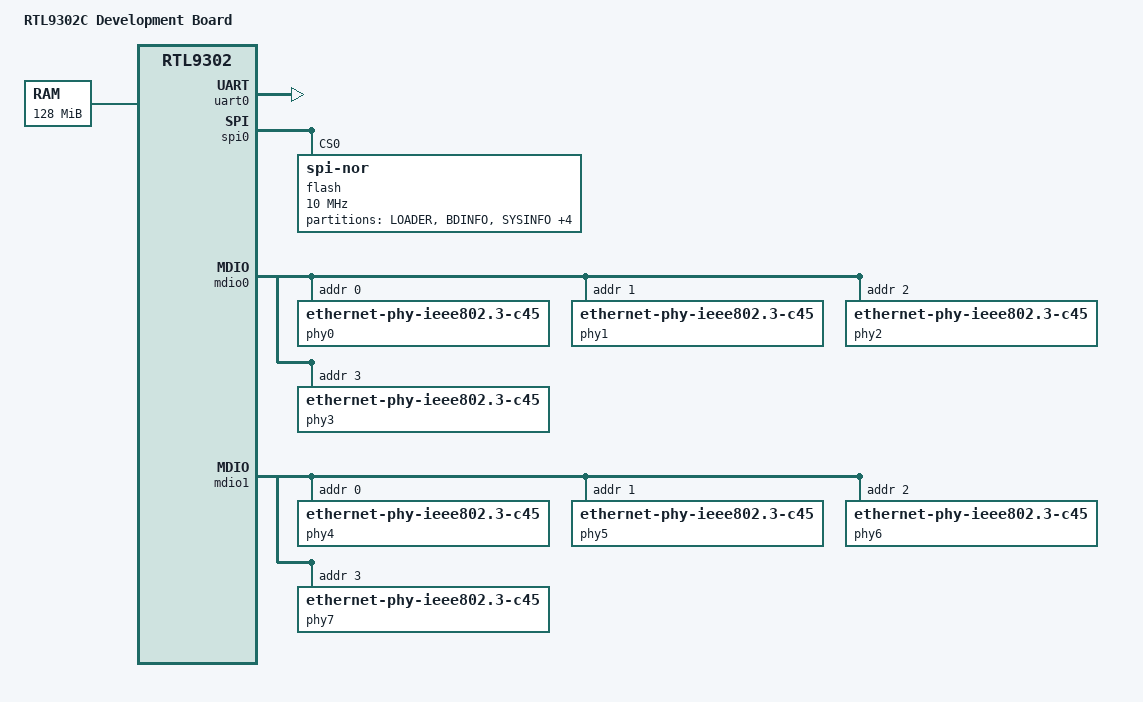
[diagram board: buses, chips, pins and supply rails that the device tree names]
// SPDX-License-Identifier: GPL-2.0-or-later
/dts-v1/;

#include "rtl9302c.dtsi"

#include <dt-bindings/input/input.h>
#include <dt-bindings/gpio/gpio.h>
#include <dt-bindings/leds/common.h>
#include <dt-bindings/thermal/thermal.h>

/ {
	compatible = "cameo,rtl9302c-2x-rtl8224-2xge", "realtek,rtl9302-soc";
	model = "RTL9302C Development Board";

	memory@0 {
		device_type = "memory";
		reg = <0x0 0x8000000>;
	};

	chosen {
		stdout-path = "serial0:115200n8";
	};
};

&uart0 {
	status = "okay";
};

&spi0 {
	status = "okay";
	flash@0 {
		compatible = "jedec,spi-nor";
		reg = <0>;
		spi-max-frequency = <10000000>;

		partitions {
			compatible = "fixed-partitions";
			#address-cells = <1>;
			#size-cells = <1>;

			partition@0 {
				label = "LOADER";
				reg = <0x0 0xe0000>;
				read-only;
			};
			partition@e0000 {
				label = "BDINFO";
				reg = <0xe0000 0x10000>;
			};
			partition@f0000 {
				label = "SYSINFO";
				reg = <0xf0000 0x10000>;
				read-only;
			};
			partition@100000 {
				label = "JFFS2 CFG";
				reg = <0x100000 0x100000>;
			};
			partition@200000 {
				label = "JFFS2 LOG";
				reg = <0x200000 0x100000>;
			};
			partition@300000 {
				label = "RUNTIME";
				reg = <0x300000 0xe80000>;
			};
			partition@1180000 {
				label = "RUNTIME2";
				reg = <0x1180000 0xe80000>;
			};
		};
	};
};

&mdio0 {
	/* External RTL8224 */
	phy0: ethernet-phy@0 {
		reg = <0>;
		compatible = "ethernet-phy-ieee802.3-c45";
	};
	phy1: ethernet-phy@1 {
		reg = <1>;
		compatible = "ethernet-phy-ieee802.3-c45";
	};
	phy2: ethernet-phy@2 {
		reg = <2>;
		compatible = "ethernet-phy-ieee802.3-c45";
	};
	phy3: ethernet-phy@3 {
		reg = <3>;
		compatible = "ethernet-phy-ieee802.3-c45";
	};
};

&mdio1 {
	/* External RTL8224 */
	phy4: ethernet-phy@0 {
		reg = <0>;
		compatible = "ethernet-phy-ieee802.3-c45";
	};
	phy5: ethernet-phy@1 {
		reg = <1>;
		compatible = "ethernet-phy-ieee802.3-c45";
	};
	phy6: ethernet-phy@2 {
		reg = <2>;
		compatible = "ethernet-phy-ieee802.3-c45";
	};
	phy7: ethernet-phy@3 {
		reg = <3>;
		compatible = "ethernet-phy-ieee802.3-c45";
	};
};

&switch0 {
	ethernet-ports {
		#address-cells = <1>;
		#size-cells = <0>;

		port@0 {
			reg = <0>;
			phy-handle = <&phy0>;
			phy-mode = "usxgmii";
		};
		port@1 {
			reg = <1>;
			phy-handle = <&phy1>;
			phy-mode = "usxgmii";
		};
		port@2 {
			reg = <2>;
			phy-handle = <&phy2>;
			phy-mode = "usxgmii";
		};
		port@3 {
			reg = <3>;
			phy-handle = <&phy3>;
			phy-mode = "usxgmii";
		};
		port@16 {
			reg = <16>;
			phy-handle = <&phy4>;
			phy-mode = "usxgmii";
		};
		port@17 {
			reg = <17>;
			phy-handle = <&phy5>;
			phy-mode = "usxgmii";
		};
		port@18 {
			reg = <18>;
			phy-handle = <&phy6>;
			phy-mode = "usxgmii";
		};
		port@19 {
			reg = <19>;
			phy-handle = <&phy7>;
			phy-mode = "usxgmii";
		};
		port@24{
			reg = <24>;
			phy-mode = "10gbase-r";
		};
		port@25{
			reg = <25>;
			phy-mode = "10gbase-r";
		};
	};
};
